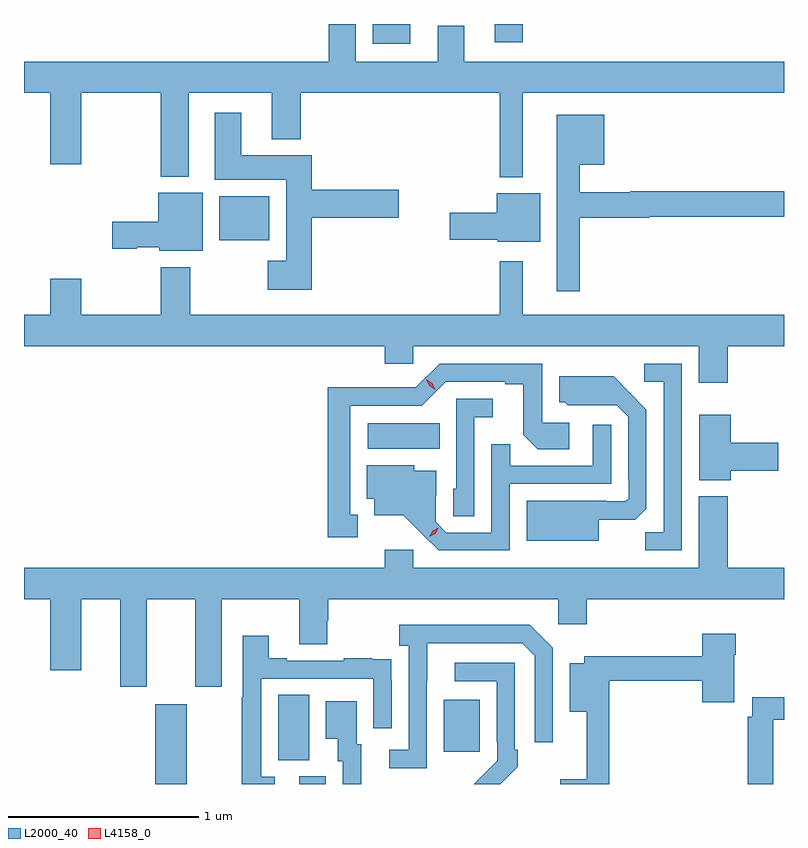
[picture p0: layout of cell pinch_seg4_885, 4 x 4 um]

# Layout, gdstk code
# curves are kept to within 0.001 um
import gdstk
lib = gdstk.Library(unit=1e-6, precision=1e-09)
def R(c, l, rs):  # rectangles x0, y0, x1, y1
    for r in rs: c.add(gdstk.rectangle(r[:2], r[2:], *l))
def P(c, l, *ps):  # polygons
    for p in ps: c.add(gdstk.Polygon(p, *l))
L2000_40 = (2000, 40)
L4158_0 = (4158, 0)

pinch_seg4_885 = lib.new_cell('pinch_seg4_885')
R(pinch_seg4_885, L2000_40, [(728.999,827.815,729.163,828.235), (729.755,827.815,729.895,827.856), (729.644,827.941,729.808,828.284), (730.517,827.985,730.705,828.259), (730.116,829.58,730.496,829.714), (729.335,830.678,729.598,830.908), (730.143,831.71,730.339,831.815), (730.784,831.72,730.931,831.815)])
P(pinch_seg4_885, L2000_40, [(728.307,831.452),(728.444,831.452),(728.444,831.078),(728.608,831.078),(728.608,831.452),(729.028,831.452),(729.028,831.011),(729.175,831.011),(729.175,831.452),(729.611,831.452),(729.611,831.209),(729.764,831.209),(729.764,831.452),(730.812,831.452),(730.812,831.008),(730.933,831.008),(730.933,831.452),(732.307,831.452),(732.307,831.616),(730.624,831.616),(730.624,831.806),(730.484,831.806),(730.484,831.616),(730.054,831.616),(730.054,831.815),(729.911,831.815),(729.911,831.616),(728.307,831.616)],
  [(729.821,830.795),(730.279,830.795),(730.279,830.942),(729.821,830.942),(729.821,831.124),(729.451,831.124),(729.451,831.349),(729.311,831.349),(729.311,830.996),(729.686,830.996),(729.686,830.569),(729.591,830.569),(729.591,830.417),(729.821,830.417)],
  [(731.233,830.795),(731.598,830.795),(731.598,830.8),(732.307,830.8),(732.307,830.936),(731.498,830.936),(731.498,830.929),(731.233,830.929),(731.233,831.074),(731.362,831.074),(731.362,831.337),(731.111,831.337),(731.111,830.409),(731.233,830.409)],
  [(729.247,830.926),(729.014,830.926),(729.014,830.774),(728.772,830.774),(728.772,830.632),(728.901,830.632),(728.901,830.639),(729.018,830.639),(729.018,830.621),(729.247,830.621)],
  [(731.023,830.923),(730.796,830.923),(730.796,830.822),(730.548,830.822),(730.548,830.68),(730.8,830.68),(730.8,830.669),(731.023,830.669)],
  [(732.011,830.12),(732.307,830.12),(732.307,830.284),(730.933,830.284),(730.933,830.566),(730.812,830.566),(730.812,830.284),(729.183,830.284),(729.183,830.536),(729.028,830.536),(729.028,830.284),(728.608,830.284),(728.608,830.473),(728.444,830.473),(728.444,830.284),(728.307,830.284),(728.307,830.12),(730.205,830.12),(730.205,830.027),(730.356,830.027),(730.356,830.12),(731.858,830.12),(731.858,829.926),(732.011,829.926)],
  [(730.063,829.233),(730.024,829.233),(730.024,829.806),(730.401,829.806),(730.527,829.932),(730.841,829.932),(730.841,829.92),(730.935,829.92),(730.935,829.652),(731.011,829.576),(731.176,829.576),(731.176,829.716),(731.034,829.716),(731.034,830.028),(730.494,830.028),(730.368,829.902),(730.146,829.902),(730.146,829.904),(729.906,829.904),(729.906,829.113),(730.063,829.113)],
  [(731.769,830.028),(731.571,830.028),(731.571,829.932),(731.673,829.932),(731.673,829.139),(731.578,829.139),(731.578,829.044),(731.769,829.044)],
  [(731.332,829.205),(731.524,829.205),(731.583,829.264),(731.583,829.786),(731.411,829.96),(731.123,829.96),(731.123,829.824),(731.154,829.824),(731.17,829.808),(731.427,829.809),(731.487,829.749),(731.487,829.42),(731.49,829.42),(731.49,829.32),(731.472,829.302),(731.372,829.302),(731.372,829.306),(730.952,829.306),(730.952,829.094),(731.332,829.094)],
  [(730.677,829.745),(730.774,829.745),(730.774,829.842),(730.581,829.842),(730.581,829.368),(730.566,829.368),(730.566,829.225),(730.677,829.225)],
  [(732.028,829.463),(732.277,829.463),(732.277,829.61),(732.028,829.61),(732.028,829.759),(731.861,829.759),(731.861,829.415),(732.028,829.415)],
  [(730.863,829.395),(731.397,829.395),(731.397,829.705),(731.301,829.705),(731.301,829.491),(730.865,829.491),(730.865,829.604),(730.767,829.604),(730.767,829.137),(730.53,829.137),(730.473,829.194),(730.473,829.336),(730.477,829.336),(730.477,829.465),(730.362,829.465),(730.362,829.492),(730.112,829.492),(730.112,829.316),(730.151,829.316),(730.151,829.229),(730.303,829.229),(730.49,829.044),(730.863,829.044)],
  [(728.953,828.788),(729.209,828.788),(729.209,828.327),(729.349,828.327),(729.349,828.788),(729.755,828.788),(729.755,828.55),(729.903,828.55),(729.903,828.675),(729.908,828.675),(729.908,828.788),(731.118,828.788),(731.118,828.657),(731.27,828.657),(731.27,828.788),(732.307,828.788),(732.307,828.952),(732.011,828.952),(732.011,829.33),(731.858,829.33),(731.858,828.952),(730.356,828.952),(730.356,829.048),(730.205,829.048),(730.205,828.952),(728.307,828.952),(728.307,828.788),(728.444,828.788),(728.444,828.414),(728.608,828.414),(728.608,828.788),(728.813,828.788),(728.813,828.327),(728.953,828.327)],
  [(730.428,828.355),(730.429,828.555),(730.929,828.555),(730.995,828.489),(730.995,828.036),(731.091,828.036),(731.091,828.531),(730.97,828.652),(730.281,828.652),(730.281,828.542),(730.332,828.542),(730.332,827.994),(730.23,827.994),(730.23,827.898),(730.428,827.898)],
  [(731.387,828.358),(731.876,828.358),(731.876,828.246),(732.046,828.246),(732.046,828.494),(732.054,828.494),(732.054,828.607),(731.876,828.607),(731.876,828.487),(731.256,828.487),(731.256,828.451),(731.18,828.451),(731.18,828.194),(731.27,828.194),(731.27,827.839),(731.13,827.839),(731.13,827.815),(731.387,827.815)],
  [(729.628,827.853),(729.555,827.853),(729.555,828.369),(730.146,828.369),(730.146,828.108),(730.242,828.108),(730.242,828.362),(730.241,828.362),(730.241,828.471),(730.139,828.471),(730.139,828.478),(729.991,828.478),(729.991,828.465),(729.691,828.465),(729.691,828.478),(729.595,828.478),(729.595,828.595),(729.459,828.595),(729.459,828.272),(729.454,828.272),(729.454,827.815),(729.628,827.815)],
  [(730.905,827.907),(730.905,827.995),(730.89,827.995),(730.89,828.453),(730.575,828.453),(730.575,828.357),(730.794,828.357),(730.794,828.037),(730.797,828.037),(730.797,827.937),(730.675,827.815),(730.813,827.815)],
  [(732.25,828.154),(732.307,828.154),(732.307,828.272),(732.14,828.272),(732.14,828.168),(732.116,828.168),(732.116,827.815),(732.25,827.815)],
  [(730.081,828.024),(730.057,828.024),(730.057,828.25),(729.896,828.25),(729.896,828.053),(729.959,828.053),(729.959,827.934),(729.984,827.934),(729.984,827.815),(730.081,827.815)])
P(pinch_seg4_885, L4158_0, [(730.44,829.117),(730.44,829.117),(730.457,829.147),(730.488,829.163),(730.488,829.163),(730.488,829.162),(730.471,829.133),(730.441,829.117)],
  [(730.472,829.891),(730.441,829.91),(730.424,829.943),(730.424,829.944),(730.425,829.944),(730.456,829.924),(730.472,829.891),(730.472,829.891)])

lib.write_gds('pinch_seg4_885.gds')
